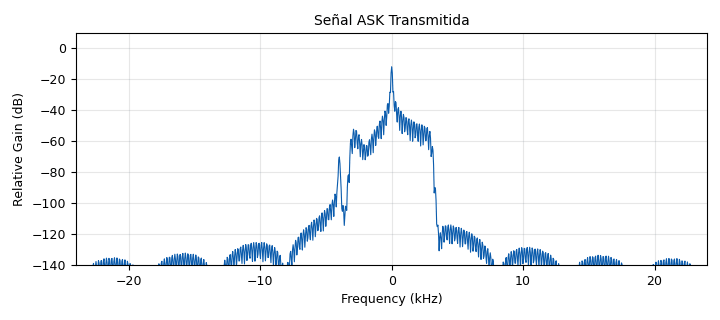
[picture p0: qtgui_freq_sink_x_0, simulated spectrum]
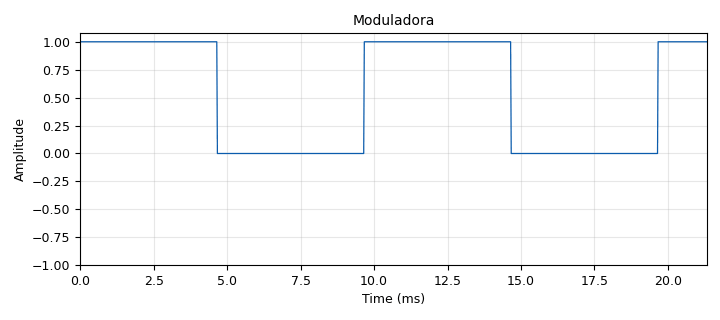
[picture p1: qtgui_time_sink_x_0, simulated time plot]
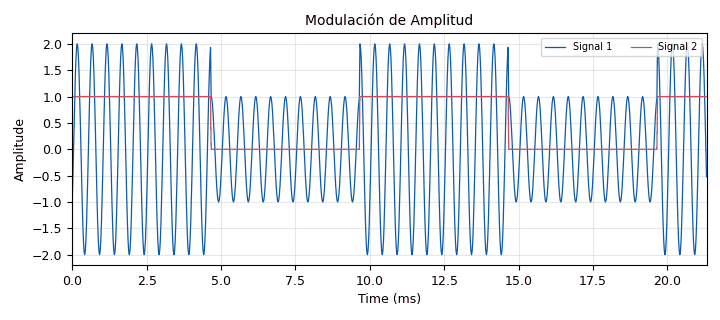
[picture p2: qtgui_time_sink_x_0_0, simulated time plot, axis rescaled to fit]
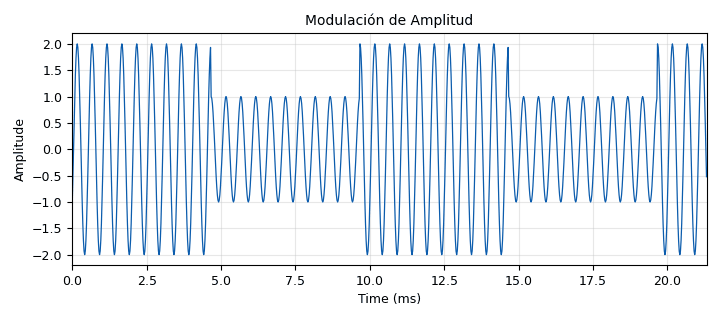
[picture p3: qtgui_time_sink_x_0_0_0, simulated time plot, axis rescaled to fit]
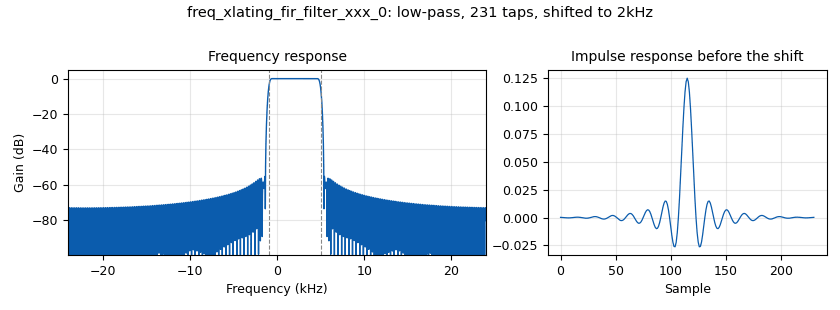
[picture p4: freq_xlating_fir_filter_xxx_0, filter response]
options:
  parameters:
    generate_options: qt_gui
    id: default
    output_language: python
    title: Not titled yet
  states: {}

blocks:
- name: decimation
  id: variable
  parameters:
    value: '8'
  states: {}
- name: samp_rate
  id: variable
  parameters:
    value: '48000'
  states: {}
- name: tw
  id: variable
  parameters:
    value: '500'
  states: {}
- name: analog_const_source_x_0
  id: analog_const_source_x
  parameters:
    const: '0'
    type: float
  states: {}
- name: analog_sig_source_x_0
  id: analog_sig_source_x
  parameters:
    amp: '1'
    freq: '100'
    offset: '0'
    phase: '0'
    samp_rate: samp_rate
    type: float
    waveform: analog.GR_SQR_WAVE
  states: {}
- name: analog_sig_source_x_1
  id: analog_sig_source_x
  parameters:
    amp: '1'
    freq: '2000'
    offset: '0'
    phase: '0'
    samp_rate: samp_rate
    type: float
    waveform: analog.GR_COS_WAVE
  states: {}
- name: blocks_add_const_vxx_0
  id: blocks_add_const_vxx
  parameters:
    const: '1'
    type: float
  states: {}
- name: blocks_float_to_complex_0
  id: blocks_float_to_complex
  parameters: {}
  states: {}
- name: blocks_multiply_const_vxx_0
  id: blocks_multiply_const_vxx
  parameters:
    const: '1'
    type: float
  states: {}
- name: blocks_multiply_xx_0
  id: blocks_multiply_xx
  parameters:
    type: float
  states: {}
- name: freq_xlating_fir_filter_xxx_0
  id: freq_xlating_fir_filter_xxx
  parameters:
    center_freq: '2000'
    decim: '1'
    samp_rate: samp_rate
    taps: firdes.low_pass(1,samp_rate,samp_rate/(2*decimation), tw)
    type: ccc
  states: {}
- name: qtgui_freq_sink_x_0
  id: qtgui_freq_sink_x
  parameters:
    bw: samp_rate
    fc: '0'
    fftsize: '1024'
    name: '"Señal ASK Transmitida"'
    type: complex
  states: {}
- name: qtgui_time_sink_x_0
  id: qtgui_time_sink_x
  parameters:
    ctrlpanel: 'True'
    name: '"Moduladora"'
    size: '1024'
    srate: samp_rate
    type: float
  states: {}
- name: qtgui_time_sink_x_0_0
  id: qtgui_time_sink_x
  parameters:
    ctrlpanel: 'True'
    name: '"Modulación de Amplitud"'
    nconnections: '2'
    size: '1024'
    srate: samp_rate
    type: float
  states: {}
- name: qtgui_time_sink_x_0_0_0
  id: qtgui_time_sink_x
  parameters:
    ctrlpanel: 'True'
    name: '"Modulación de Amplitud"'
    size: '1024'
    srate: samp_rate
    type: float
  states: {}
- name: uhd_usrp_sink_0
  id: uhd_usrp_sink
  parameters:
    ant0: '"TX/RX"'
    center_freq0: 900e6
    gain0: '50'
    samp_rate: samp_rate
    sync: pc_clock
    type: fc32
  states: {}

connections:
- [analog_const_source_x_0, '0', blocks_float_to_complex_0, '1']
- [analog_sig_source_x_0, '0', blocks_multiply_const_vxx_0, '0']
- [analog_sig_source_x_0, '0', qtgui_time_sink_x_0, '0']
- [analog_sig_source_x_0, '0', qtgui_time_sink_x_0_0, '1']
- [analog_sig_source_x_1, '0', blocks_multiply_xx_0, '1']
- [blocks_add_const_vxx_0, '0', blocks_multiply_xx_0, '0']
- [blocks_float_to_complex_0, '0', freq_xlating_fir_filter_xxx_0, '0']
- [blocks_multiply_const_vxx_0, '0', blocks_add_const_vxx_0, '0']
- [blocks_multiply_xx_0, '0', blocks_float_to_complex_0, '0']
- [blocks_multiply_xx_0, '0', qtgui_time_sink_x_0_0, '0']
- [blocks_multiply_xx_0, '0', qtgui_time_sink_x_0_0_0, '0']
- [freq_xlating_fir_filter_xxx_0, '0', qtgui_freq_sink_x_0, '0']
- [freq_xlating_fir_filter_xxx_0, '0', uhd_usrp_sink_0, '0']

metadata:
  file_format: 1
